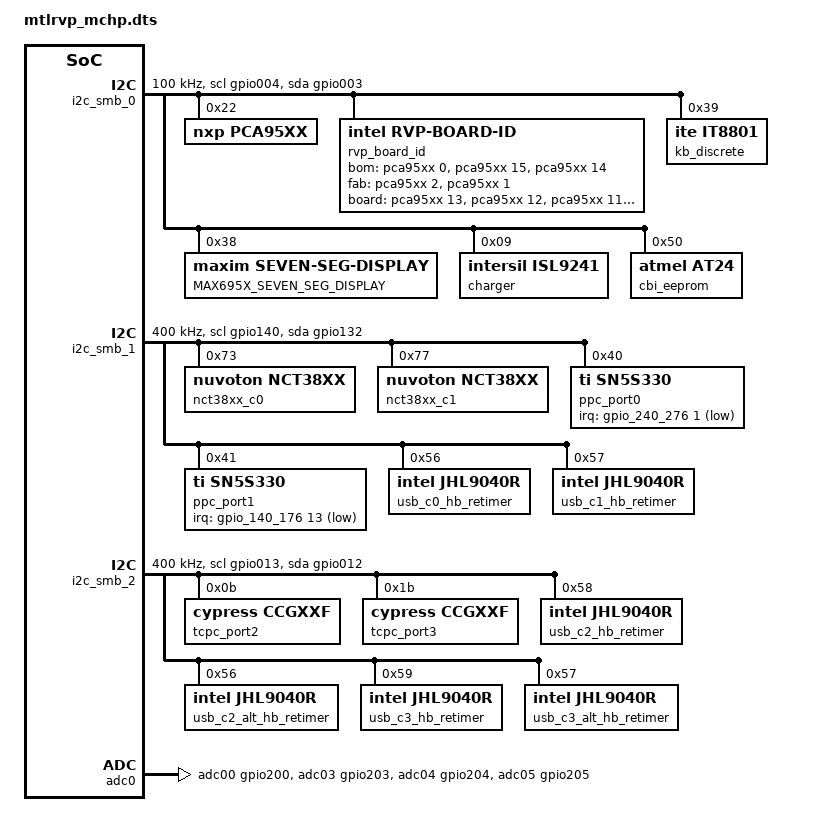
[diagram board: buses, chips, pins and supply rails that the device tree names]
/* Copyright 2022 The Chromium OS Authors. All rights reserved.
 * Use of this source code is governed by a BSD-style license that can be
 * found in the LICENSE file.
 */

 #include <dt-bindings/usb_pd_tcpm.h>

/ {
	hibernate-wake-pins {
		compatible = "cros-ec,hibernate-wake-pins";
		wakeup-irqs = <
			&int_ac_present
			&int_lid_open
			&int_power_button
		>;
	};

	named-i2c-ports {
		compatible = "named-i2c-ports";

		i2c_charger: charger {
			i2c-port = <&i2c_smb_0>;
			enum-names = "I2C_PORT_CHARGER",
				"I2C_PORT_BATTERY",
				"I2C_PORT_EEPROM",
				"I2C_PORT_KB_DISCRETE",
				"I2C_PORT_PORT80";
		};
		typec_aic1: typec-aic1{
			i2c-port = <&i2c_smb_1>;
			enum-names = "I2C_PORT_TYPEC_AIC_1";
		};
		typec_aic2: typec-aic2{
			i2c-port = <&i2c_smb_2>;
			enum-names = "I2C_PORT_TYPEC_AIC_2";
		};
	};

	named-adc-channels {
		compatible = "named-adc-channels";

		adc_ambient: ambient {
			enum-name = "ADC_TEMP_SENSOR_1";
			io-channels = <&adc0 3>;
		};
		adc_ddr: ddr {
			enum-name = "ADC_TEMP_SENSOR_2";
			io-channels = <&adc0 5>;
		};
		adc_skin: skin {
			enum-name = "ADC_TEMP_SENSOR_3";
			io-channels = <&adc0 4>;
		};
		adc_vr: vr {
			enum-name = "ADC_TEMP_SENSOR_4";
			io-channels = <&adc0 0>;
		};
	};
};

/* charger */
&i2c_smb_0 {
	label = "I2C_CHARGER";
	status = "okay";
	clock-frequency = <I2C_BITRATE_STANDARD>;
	port_sel = <0>;
	pinctrl-0 = <&i2c00_scl_gpio004 &i2c00_sda_gpio003>;
	pinctrl-names = "default";

	pca95xx: pca95xx@22 {
		compatible = "nxp,pca95xx";
		label = "PCA95XX";
		reg = <0x22>;
		gpio-controller;
		#gpio-cells = <2>;
		ngpios = <16>;
	};

	rvp_board_id: rvp-board-id {
		compatible = "intel,rvp-board-id";

		/*
		 * BOM ID [2]   : IOEX[0]
		 * BOM ID [1:0] : IOEX[15:14]
		 */
		bom-gpios = <&pca95xx 0 0>, <&pca95xx 15 0>, <&pca95xx 14 0>;

		/*
		 * FAB ID [1:0] : IOEX[2:1]
		 */
		fab-gpios = <&pca95xx 2 0>, <&pca95xx 1 0>;

		/*
		 * BOARD ID[5:0] : IOEX[13:8]
		 */
		board-gpios = <&pca95xx 13 0>, <&pca95xx 12 0>, <&pca95xx 11 0>,
			      <&pca95xx 10 0>, <&pca95xx 9 0>, <&pca95xx 8 0>;
	};

	kb_discrete: ite-it8801@39 {
		compatible = "ite,it8801";
		reg = <0x39>;
	};

	seven_seg_display: max695x-seven-seg-display@38 {
		compatible = "maxim,seven-seg-display";
		reg = <0x38>;
		label = "MAX695X_SEVEN_SEG_DISPLAY";
	};

	charger: isl9241@9 {
		compatible = "intersil,isl9241";
		status = "okay";
		reg = <0x9>;
	};

	cbi_eeprom: eeprom@50 {
		compatible = "atmel,at24";
		reg = <0x50>;
		size = <2048>;
		pagesize = <16>;
		address-width = <8>;
		timeout = <5>;
	};
};

/* typec_aic1 */
&i2c_smb_1 {
	label = "I2C_USB_C0_C1_TCPC";
	status = "okay";
	clock-frequency = <I2C_BITRATE_FAST>;
	port_sel = <6>;
	pinctrl-0 = <&i2c06_scl_gpio140 &i2c06_sda_gpio132>;
	pinctrl-names = "default";

	nct38xx_c0: nct38xx@73 {
		compatible = "nuvoton,nct38xx";
		reg = <0x73>;

		tcpc_port0: nct38xx-tcpc {
			compatible = "nuvoton,nct38xx-tcpc";
			gpio-dev = <&nct38xx_c0>;
			tcpc-flags = <(
				TCPC_FLAGS_TCPCI_REV2_0 |
				TCPC_FLAGS_NO_DEBUG_ACC_CONTROL)>;
		};

		nct38xx-gpio {
			#address-cells = <1>;
			#size-cells = <0>;
			compatible = "nuvoton,nct38xx-gpio";
			label = "NCT38XX_C0";

			ioex_c0:gpio@0 {
				compatible = "nuvoton,nct38xx-gpio-port";
				reg = <0x0>;
				label = "NCT38XX_C0_GPIO0";
				gpio-controller;
				#gpio-cells = <2>;
				ngpios = <8>;
				pin_mask = <0xdc>;
				pinmux_mask = <0xff>;
			};
		};
	};

	nct38xx_c1: nct38xx@77 {
		compatible = "nuvoton,nct38xx";
		reg = <0x77>;

		tcpc_port1: nct38xx-tcpc {
			compatible = "nuvoton,nct38xx-tcpc";
			gpio-dev = <&nct38xx_c1>;
			tcpc-flags = <(TCPC_FLAGS_TCPCI_REV2_0)>;
		};

		nct38xx-gpio {
			#address-cells = <1>;
			#size-cells = <0>;
			compatible = "nuvoton,nct38xx-gpio";
			label = "NCT38XX_C1";

			ioex_c1:gpio@0 {
				compatible = "nuvoton,nct38xx-gpio-port";
				reg = <0x0>;
				label = "NCT38XX_C1_GPIO0";
				gpio-controller;
				#gpio-cells = <2>;
				ngpios = <8>;
				pin_mask = <0xdc>;
				pinmux_mask = <0xff>;
			};
		};
	};

	ppc_port0: sn5s330@40 {
		compatible = "ti,sn5s330";
		status = "okay";
		reg = <0x40>;
		/* a duplicate of the <&usbc_tcpc_ppc_alrt_p0> node in
		 * "named-gpios". This is the Zephyr preferred style,
		 * the "named-gpios" node will be dealt with at a later date.
		 */
		irq-gpios = <&gpio_240_276 1 GPIO_ACTIVE_LOW>;
	};

	ppc_port1: sn5s330@41 {
		compatible = "ti,sn5s330";
		status = "okay";
		reg = <0x41>;
		/* a duplicate of the <&usbc_tcpc_ppc_alrt_p1> node in
		 * "named-gpios". This is the Zephyr preferred style,
		 * the "named-gpios" node will be dealt with at a later date.
		 */
		irq-gpios = <&gpio_140_176 13 GPIO_ACTIVE_LOW>;
	};

	usb_c0_hb_retimer: jhl9040r-c0@56 {
		compatible = "intel,jhl9040r";
		reg = <0x56>;
		reset-pin = <&usb_c0_hb_retimer_rst>;
		ls-en-pin = <&usb_c0_hb_retimer_ls_en>;
	};

	usb_c1_hb_retimer: jhl9040r-c1@57 {
		compatible = "intel,jhl9040r";
		reg = <0x57>;
		reset-pin = <&usb_c1_hb_retimer_rst>;
		ls-en-pin = <&usb_c1_hb_retimer_ls_en>;
	};
};

/* typec_aic2 */
&i2c_smb_2 {
	label = "I2C_USB_C2_C3_TCPC";
	status = "okay";
	clock-frequency = <I2C_BITRATE_FAST>;
	port_sel = <7>;
	pinctrl-0 = <&i2c07_scl_gpio013 &i2c07_sda_gpio012>;
	pinctrl-names = "default";

	tcpc_port2: ccgxxf@b {
		compatible = "cypress,ccgxxf";
		reg = <0xb>;
	};

	tcpc_port3: ccgxxf@1b {
		compatible = "cypress,ccgxxf";
		reg = <0x1b>;
	};

	usb_c2_hb_retimer: jhl9040r-c2@58 {
		compatible = "intel,jhl9040r";
		reg = <0x58>;
		reset-pin = <&usb_c2_hb_retimer_rst>;
		ls-en-pin = <&usb_c2_hb_retimer_ls_en>;
	};

	usb_c2_alt_hb_retimer: jhl9040r-c2@56 {
		compatible = "intel,jhl9040r";
		reg = <0x56>;
		reset-pin = <&usb_c2_hb_retimer_rst>;
		ls-en-pin = <&usb_c2_hb_retimer_ls_en>;
	};

	usb_c3_hb_retimer: jhl9040r-c3@59 {
		compatible = "intel,jhl9040r";
		reg = <0x59>;
		reset-pin = <&usb_c3_hb_retimer_rst>;
		ls-en-pin = <&usb_c3_hb_retimer_ls_en>;
	};

	usb_c3_alt_hb_retimer: jhl9040r-c3@57 {
		compatible = "intel,jhl9040r";
		reg = <0x57>;
		reset-pin = <&usb_c3_hb_retimer_rst>;
		ls-en-pin = <&usb_c3_hb_retimer_ls_en>;
	};
};

&adc0 {
	status = "okay";
	pinctrl-0 = <&adc00_gpio200
		     &adc03_gpio203
		     &adc04_gpio204
		     &adc05_gpio205>;
	pinctrl-names = "default";
};
